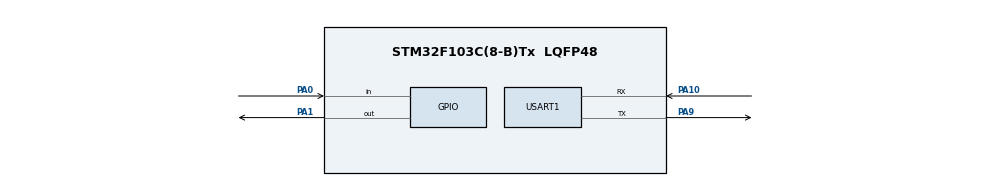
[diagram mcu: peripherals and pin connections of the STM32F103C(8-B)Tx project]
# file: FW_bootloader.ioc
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Mcu.Family=STM32F1
Mcu.Name=STM32F103C(8-B)Tx
Mcu.Package=LQFP48
NVIC.PriorityGroup=NVIC_PRIORITYGROUP_4
PA0-WKUP.GPIO_PuPd=GPIO_PULLUP
PA0-WKUP.Signal=GPIO_Input
PA1.Signal=GPIO_Output
PA10.Mode=Asynchronous
PA10.Signal=USART1_RX
PA13.Mode=Serial_Wire
PA13.Signal=SYS_JTMS-SWDIO
PA14.Mode=Serial_Wire
PA14.Signal=SYS_JTCK-SWCLK
PA9.Mode=Asynchronous
PA9.Signal=USART1_TX
ProjectManager.HeapSize=0x200
ProjectManager.StackSize=0x400
ProjectManager.TargetToolchain=STM32CubeIDE
RCC.APB1Freq_Value=8000000
RCC.APB2Freq_Value=8000000
USART1.VirtualMode=VM_ASYNC
board=custom

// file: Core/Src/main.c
/* USER CODE BEGIN Header */
/**
  ******************************************************************************
  * @file           : main.c
  * @brief          : Main program body
  ******************************************************************************
  * @attention
  *
  * Copyright (c) 2026 STMicroelectronics.
  * All rights reserved.
  *
  * This software is licensed under terms that can be found in the LICENSE file
  * in the root directory of this software component.
  * If no LICENSE file comes with this software, it is provided AS-IS.
  *
  ******************************************************************************
  */
/* USER CODE END Header */
#include "main.h"

/* USER CODE BEGIN Includes */
#include <string.h>
/* USER CODE END Includes */

/* USER CODE BEGIN PTD */
typedef struct {
    uint32_t magic;    // tờ chứng nhận
    uint32_t size;
    uint32_t crc;      // CRC16 app
} BootInfo;
/* USER CODE END PTD */

/* USER CODE BEGIN PD */
#define FLAG_ADDR    0x0800FC00UL   // page cuoi cung
#define FLAG_MAGIC   0xB007CAFEUL   // cờ nhận dạng tờ chứng nhận
#define APP_ADDR     0x08004000UL
#define APP_MAX      0x4000UL
#define PAGE_SIZE    1024UL

#define PKT_START    0xAA
#define CMD_START    0x01
#define CMD_DATA     0x02
#define CMD_END      0x03
#define BL_ACK       0x06
#define BL_NACK      0x15
/* USER CODE END PD */

UART_HandleTypeDef huart1;

/* USER CODE BEGIN PV */
static uint8_t  pkt_data[256];
static uint32_t fw_size    = 0;
static uint32_t write_addr = APP_ADDR;
/* USER CODE END PV */

void SystemClock_Config(void);
static void MX_GPIO_Init(void);
static void MX_USART1_UART_Init(void);

/* USER CODE BEGIN 0 */
static void uart_print(const char *s)
{
    HAL_UART_Transmit(&huart1, (uint8_t *)s, strlen(s), 100);
}

static void send_reply(uint8_t r)
{
    HAL_UART_Transmit(&huart1, &r, 1, 100);
}

static uint16_t crc16(const uint8_t *d, uint32_t len, uint16_t crc)
{
    for (uint32_t i = 0; i < len; i++)
    {
        crc ^= d[i];
        for (int j = 0; j < 8; j++)
            crc = (crc & 1) ? (crc >> 1) ^ 0xA001 : (crc >> 1);
    }
    return crc;
}

static HAL_StatusTypeDef flash_erase(uint32_t addr, uint32_t pages)
{
    FLASH_EraseInitTypeDef e = {0};
    uint32_t err;

    e.TypeErase   = FLASH_TYPEERASE_PAGES;
    e.PageAddress = addr;
    e.NbPages     = pages;

    HAL_FLASH_Unlock();
    HAL_StatusTypeDef st = HAL_FLASHEx_Erase(&e, &err);
    HAL_FLASH_Lock();
    return st;
}

static HAL_StatusTypeDef flash_write(uint32_t addr, const uint8_t *data, uint16_t len)
{
    HAL_FLASH_Unlock();
    for (uint16_t i = 0; i < len; i += 2)
    {
        uint16_t hw = data[i] | ((i + 1 < len ? data[i + 1] : 0xFF) << 8);
        if (HAL_FLASH_Program(FLASH_TYPEPROGRAM_HALFWORD, addr + i, hw) != HAL_OK)
        {
            HAL_FLASH_Lock();
            return HAL_ERROR;
        }
    }
    HAL_FLASH_Lock();
    return HAL_OK;
}

static int app_is_valid(void)
{
    const BootInfo *info = (const BootInfo *)FLAG_ADDR;

    if (info->magic != FLAG_MAGIC) return 0;                      // chưa có chứng nhận
    if (info->size == 0 || info->size > APP_MAX) return 0;

    // tinh va so crc
    return crc16((const uint8_t *)APP_ADDR, info->size, 0xFFFF) == (uint16_t)info->crc;
}

// Ghi tờ chứng nhận sau khi update thành công
static HAL_StatusTypeDef mark_app_valid(uint32_t size, uint16_t crc)
{
    BootInfo info = { FLAG_MAGIC, size, crc };
    return flash_write(FLAG_ADDR, (const uint8_t *)&info, sizeof(info));
}

static void jump_to_app(uint32_t addr)
{
    uint32_t sp  = *(volatile uint32_t *)addr;
    uint32_t rst = *(volatile uint32_t *)(addr + 4);

    if ((sp & 0x2FFE0000) != 0x20000000) return;

    __disable_irq();
    SysTick->CTRL = 0;
    SysTick->LOAD = 0;
    SysTick->VAL  = 0;
    SCB->VTOR = addr;
    __set_MSP(sp);
    __enable_irq();

    ((void (*)(void))rst)();
}

// 0 nếu nhận đủ gói và CRC đúng, -1 nếu lỗi
static int receive_packet(uint8_t *cmd, uint16_t *len)
{
    uint8_t b, hdr[3], c[2];

    // Đợi start byte
    do {
        if (HAL_UART_Receive(&huart1, &b, 1, HAL_MAX_DELAY) != HAL_OK) return -1;
    } while (b != PKT_START);

    if (HAL_UART_Receive(&huart1, hdr, 3, 500) != HAL_OK) return -1;  // CMD, LEN_L, LEN_H
    *cmd = hdr[0];
    *len = hdr[1] | (hdr[2] << 8);
    if (*len > sizeof(pkt_data)) return -1;

    if (*len && HAL_UART_Receive(&huart1, pkt_data, *len, 1000) != HAL_OK) return -1;
    if (HAL_UART_Receive(&huart1, c, 2, 500) != HAL_OK) return -1;

    uint16_t rx   = c[0] | (c[1] << 8);
    uint16_t calc = crc16(pkt_data, *len, crc16(hdr, 3, 0xFFFF));
    return (rx == calc) ? 0 : -1;
}

static void update_mode(void)
{
    uint8_t cmd;
    uint16_t len;

    uart_print("BOOT\r\n");

    while (1)
    {
        if (receive_packet(&cmd, &len) != 0) { send_reply(BL_NACK); continue; }

        switch (cmd)
        {
        case CMD_START:
            if (len != 4) { send_reply(BL_NACK); break; }
            fw_size = pkt_data[0] | (pkt_data[1] << 8) | (pkt_data[2] << 16)
                    | ((uint32_t)pkt_data[3] << 24);
            if (fw_size == 0 || fw_size > APP_MAX) { fw_size = 0; send_reply(BL_NACK); break; }

            write_addr = APP_ADDR;

            // Xóa tờ chứng nhận TRƯỚC khi xóa app. Mất điện giữa chừng thì không còn chứng nhận
            if (flash_erase(FLAG_ADDR, 1) != HAL_OK) { fw_size = 0; send_reply(BL_NACK); break; }

            send_reply(flash_erase(APP_ADDR, (fw_size + PAGE_SIZE - 1) / PAGE_SIZE) == HAL_OK
                       ? BL_ACK : BL_NACK);
            break;

        case CMD_DATA:
            if (fw_size == 0 || write_addr + len > APP_ADDR + fw_size ||
                flash_write(write_addr, pkt_data, len) != HAL_OK)
            {
                send_reply(BL_NACK);
                break;
            }
            write_addr += len;
            send_reply(BL_ACK);
            break;

        case CMD_END:
            if (len == 2 && fw_size != 0 && write_addr == APP_ADDR + fw_size)
            {
                uint16_t expect = pkt_data[0] | (pkt_data[1] << 8);
                if (crc16((uint8_t *)APP_ADDR, fw_size, 0xFFFF) == expect)
                {
                    // CRC đúng: xóa trang cờ (phòng khi gửi END hai lần) rồi ghi chứng nhận
                    if (flash_erase(FLAG_ADDR, 1) == HAL_OK &&
                        mark_app_valid(fw_size, expect) == HAL_OK)
                    {
                        send_reply(BL_ACK);
                        break;
                    }
                }
            }
            send_reply(BL_NACK);
            break;

        default:
            send_reply(BL_NACK);
            break;
        }
    }
}
/* USER CODE END 0 */

int main(void)
{

  /* MCU Configuration--------------------------------------------------------*/

  /* Reset of all peripherals, Initializes the Flash interface and the Systick. */
  HAL_Init();

  /* Configure the system clock */
  SystemClock_Config();

  /* Initialize all configured peripherals */
  MX_GPIO_Init();
  MX_USART1_UART_Init();
  /* USER CODE BEGIN 2 */
  HAL_Delay(50);
  if (HAL_GPIO_ReadPin(GPIOA, GPIO_PIN_0) == GPIO_PIN_SET && app_is_valid())
  {
      jump_to_app(APP_ADDR);   // chỉ nhảy khi không nhấn nút VÀ app có chứng nhận hợp lệ
  }
  update_mode();

  /* USER CODE END 2 */

  /* Infinite loop */
  while (1)
  {

  }
}

void SystemClock_Config(void)
{
  RCC_OscInitTypeDef RCC_OscInitStruct = {0};
  RCC_ClkInitTypeDef RCC_ClkInitStruct = {0};

  /** Initializes the RCC Oscillators according to the specified parameters
  * in the RCC_OscInitTypeDef structure.
  */
  RCC_OscInitStruct.OscillatorType = RCC_OSCILLATORTYPE_HSI;
  RCC_OscInitStruct.HSIState = RCC_HSI_ON;
  RCC_OscInitStruct.HSICalibrationValue = RCC_HSICALIBRATION_DEFAULT;
  RCC_OscInitStruct.PLL.PLLState = RCC_PLL_NONE;
  if (HAL_RCC_OscConfig(&RCC_OscInitStruct) != HAL_OK)
  {
    Error_Handler();
  }

  /** Initializes the CPU, AHB and APB buses clocks
  */
  RCC_ClkInitStruct.ClockType = RCC_CLOCKTYPE_HCLK|RCC_CLOCKTYPE_SYSCLK
                              |RCC_CLOCKTYPE_PCLK1|RCC_CLOCKTYPE_PCLK2;
  RCC_ClkInitStruct.SYSCLKSource = RCC_SYSCLKSOURCE_HSI;
  RCC_ClkInitStruct.AHBCLKDivider = RCC_SYSCLK_DIV1;
  RCC_ClkInitStruct.APB1CLKDivider = RCC_HCLK_DIV1;
  RCC_ClkInitStruct.APB2CLKDivider = RCC_HCLK_DIV1;

  if (HAL_RCC_ClockConfig(&RCC_ClkInitStruct, FLASH_LATENCY_0) != HAL_OK)
  {
    Error_Handler();
  }
}

static void MX_USART1_UART_Init(void)
{

  huart1.Instance = USART1;
  huart1.Init.BaudRate = 115200;
  huart1.Init.WordLength = UART_WORDLENGTH_8B;
  huart1.Init.StopBits = UART_STOPBITS_1;
  huart1.Init.Parity = UART_PARITY_NONE;
  huart1.Init.Mode = UART_MODE_TX_RX;
  huart1.Init.HwFlowCtl = UART_HWCONTROL_NONE;
  huart1.Init.OverSampling = UART_OVERSAMPLING_16;
  if (HAL_UART_Init(&huart1) != HAL_OK)
  {
    Error_Handler();
  }

}

static void MX_GPIO_Init(void)
{
  GPIO_InitTypeDef GPIO_InitStruct = {0};

  /* GPIO Ports Clock Enable */
  __HAL_RCC_GPIOA_CLK_ENABLE();

  /*Configure GPIO pin Output Level */
  HAL_GPIO_WritePin(GPIOA, GPIO_PIN_1, GPIO_PIN_RESET);

  /*Configure GPIO pin : PA0 */
  GPIO_InitStruct.Pin = GPIO_PIN_0;
  GPIO_InitStruct.Mode = GPIO_MODE_INPUT;
  GPIO_InitStruct.Pull = GPIO_PULLUP;
  HAL_GPIO_Init(GPIOA, &GPIO_InitStruct);

  /*Configure GPIO pin : PA1 */
  GPIO_InitStruct.Pin = GPIO_PIN_1;
  GPIO_InitStruct.Mode = GPIO_MODE_OUTPUT_PP;
  GPIO_InitStruct.Pull = GPIO_NOPULL;
  GPIO_InitStruct.Speed = GPIO_SPEED_FREQ_LOW;
  HAL_GPIO_Init(GPIOA, &GPIO_InitStruct);

}

void Error_Handler(void)
{
  __disable_irq();
  while (1)
  {
  }
}
